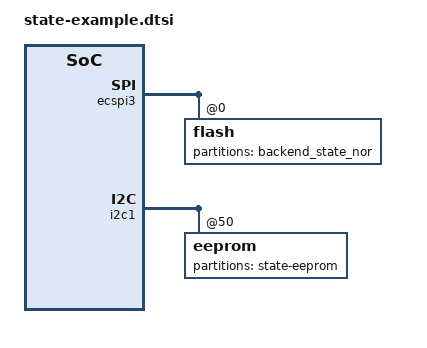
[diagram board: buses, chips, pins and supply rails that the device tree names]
/*
 * This code is released using a dual license strategy: BSD/GPL
 * You can choose the licence that better fits your requirements.
 *
 * Released under the terms of 3-clause BSD License
 * Released under the terms of GNU General Public License Version 2.0
 *
 */

/*
 * This contains an example how to use the state framework. This file
 * can be directly included by imx6qdl-phytec-pbab01.dtsi, other boards
 * need adjustments. Note that this example may use the partitions in
 * other ways than intended by phytec, so before using this see below
 * if it will overwrite some precious data.
 */

#define STATE_VARS \
	#address-cells = <1>;				\
	#size-cells = <1>;				\
	mac {						\
		reg = <0x0 0x6>;			\
		type = "mac";				\
	};						\
							\
	number {					\
		reg = <0x8 0x4>;			\
		type = "uint32";			\
	};						\
							\
	name {						\
		reg = <0xc 0x10>;			\
		type = "string";			\
	};						\
							\
	fruit {						\
		reg = <0x1c 0x4>;			\
		type = "enum32";			\
		names = "apple", "pear", "banana";	\
	}

/ {
	aliases {
		state_nor = &state_nor;
		state_nand = &state_nand;
		state_sd = &state_sd;
		state_eeprom = &state_eeprom;
	};

	state_nor: state_nor {
		magic = <0x512890a0>;
		compatible = "barebox,state";
		backend-type = "raw";
		backend = <&backend_state_nor>;
		backend-storage-type = "circular";

		STATE_VARS;
	};

	state_nand: state_nand {
		magic = <0xab67421f>;
		compatible = "barebox,state";
		backend-type = "raw";
		backend = <&backend_state_nand>;
		backend-storage-type = "circular";

		STATE_VARS;
	};

	state_sd: state_sd {
		magic = <0xef784236>;
		compatible = "barebox,state";
		backend-type = "raw";
		backend = <&backend_state_usdhc>;
		backend-stridesize = <1024>;

		STATE_VARS;
	};

	state_eeprom: state_eeprom {
		magic = <0x344682db>;
		compatible = "barebox,state";
		backend-type = "raw";
		backend = <&backend_state_eeprom>;
		backend-stridesize = <64>;

		STATE_VARS;
	};

};

&ecspi3 {
	flash@0 {
		backend_state_nor: partition@120000 {
		};
	};
};

&gpmi {
	backend_state_nand: partition@500000 {
	};
};

&i2c1 {
	eeprom@50 {
		partitions {
			compatible = "fixed-partitions";
			#size-cells = <1>;
			#address-cells = <1>;
			backend_state_eeprom: state@400 {
				reg = <0x400 0x400>;
				label = "state-eeprom";
			};
		};
	};
};

&usdhc2 {
	partitions {
		compatible = "fixed-partitions";
		#size-cells = <1>;
		#address-cells = <1>;
		backend_state_usdhc: state@0x80000 {
			reg = <0x80000 0x80000>;
			label = "state-sd";
		};
	};
};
